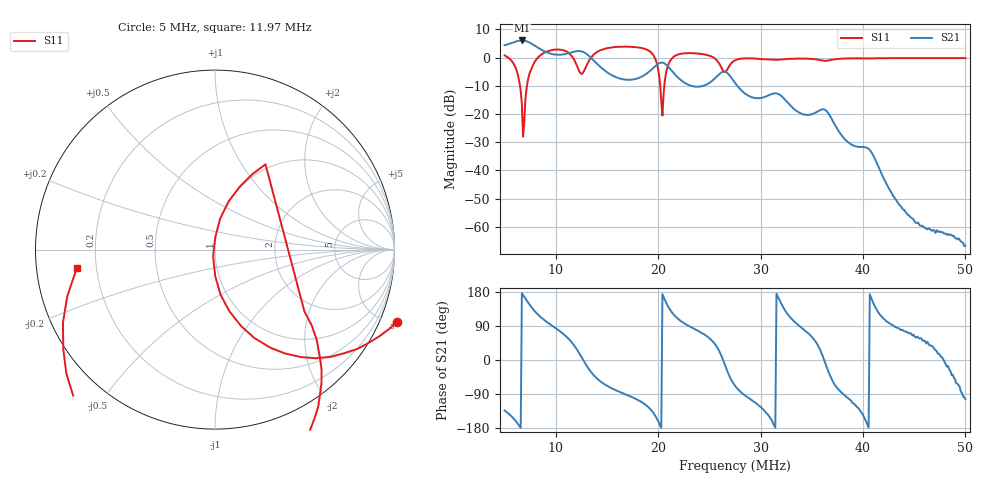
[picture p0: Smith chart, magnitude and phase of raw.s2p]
! S11/S21 only; reverse parameters are placeholders. Device calibration unverified.
! NanoVNA F V2 profile | COM3 | 2026-09-08T11:31:24.4167083-04:00 | device calibration unverified
# HZ S RI R 50
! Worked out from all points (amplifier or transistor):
!   401 points, 5 MHz to 50 MHz, reference 50 ohm
!   highest |S21| = 6.1 dB at 6.688 MHz (marker M1)
!   |S21| within 3 dB of that: start of sweep to 8.445 MHz
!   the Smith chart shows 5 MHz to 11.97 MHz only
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5000000  1.014 -0.4012  -1.136 -1.202  0 0  0 0
6125000  0.3065 -0.5457  -1.835 -0.5837  0 0  0 0
6687500  0.00144 -0.1489  -2.004 0.1272  0 0  0 0
7250000  0.1372 0.3493  -1.707 0.8607  0 0  0 0
7925000  0.5822 -0.589  -1.034 1.261  0 0  0 0
1.02875e7  -0.1675 -1.377  0.2309 1.096  0 0  0 0
1.16375e7  -0.845 -0.5569  0.9005 0.8669  0 0  0 0
1.25375e7  -0.1641 0.4857  1.275 0.1453  0 0  0 0
1.355e7  1.031 0.2173  0.7686 -0.5446  0 0  0 0
1.49e7  1.343 -0.5471  0.2263 -0.5192  0 0  0 0
1.88375e7  0.5566 -1.276  -0.2547 -0.447  0 0  0 0
2.0075e7  -0.265 -0.4315  -0.7657 -0.1962  0 0  0 0
2.075e7  0.4223 0.2957  -0.6713 0.3439  0 0  0 0
2.1875e7  1.114 -0.1242  -0.154 0.4244  0 0  0 0
2.525e7  0.7852 -0.6756  0.241 0.2998  0 0  0 0
2.6375e7  0.4596 -0.3403  0.5643 -0.0262  0 0  0 0
2.75e7  0.8661 -0.2107  0.1335 -0.3306  0 0  0 0
3.14375e7  0.7549 -0.5151  -0.2328 -0.00473  0 0  0 0
3.50375e7  0.648 -0.6897  0.0497 0.0861  0 0  0 0
4.055e7  0.5127 -0.8206  -0.0241 -0.000579  0 0  0 0
4.2575e7  0.4417 -0.8679  -0.000553 0.00464  0 0  0 0
5e7  0.1582 -0.9628  -0.000106 -0.000453  0 0  0 0
